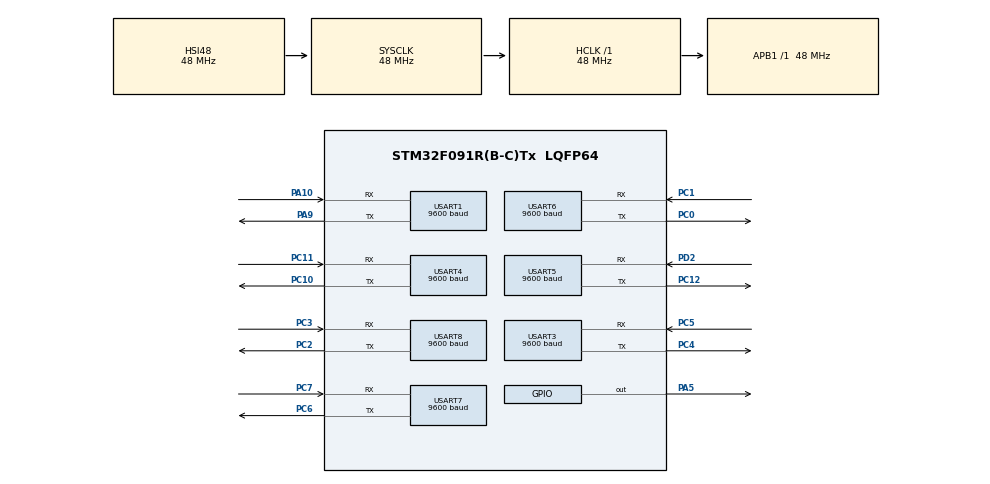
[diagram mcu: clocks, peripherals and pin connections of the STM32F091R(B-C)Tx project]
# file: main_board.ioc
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Mcu.Family=STM32F0
Mcu.Name=STM32F091R(B-C)Tx
Mcu.Package=LQFP64
NVIC.TIM3_IRQn=true\:0\:0\:false\:false\:true\:true
PA10.Mode=Asynchronous
PA10.Signal=USART1_RX
PA13.Mode=Serial_Wire
PA13.Signal=SYS_SWDIO
PA14.Mode=Serial_Wire
PA14.Signal=SYS_SWCLK
PA5.GPIO_Mode=GPIO_MODE_OUTPUT_PP
PA5.GPIO_ModeDefaultOutputPP=GPIO_MODE_OUTPUT_PP
PA5.GPIO_PuPd=GPIO_NOPULL
PA5.GPIO_Speed=GPIO_SPEED_FREQ_LOW
PA5.PinState=GPIO_PIN_RESET
PA5.Signal=GPIO_Output
PA9.Mode=Asynchronous
PA9.Signal=USART1_TX
PC0.Mode=Asynchronous
PC0.Signal=USART6_TX
PC1.Mode=Asynchronous
PC1.Signal=USART6_RX
PC10.Mode=Asynchronous
PC10.Signal=USART4_TX
PC11.Mode=Asynchronous
PC11.Signal=USART4_RX
PC12.Mode=Asynchronous
PC12.Signal=USART5_TX
PC14OSC32_IN.Signal=RCC_OSC32_IN
PC15OSC32_OUT.Signal=RCC_OSC32_OUT
PC2.Mode=Asynchronous
PC2.Signal=USART8_TX
PC3.Mode=Asynchronous
PC3.Signal=USART8_RX
PC4.Mode=Asynchronous
PC4.Signal=USART3_TX
PC5.Mode=Asynchronous
PC5.Signal=USART3_RX
PC6.Mode=Asynchronous
PC6.Signal=USART7_TX
PC7.Mode=Asynchronous
PC7.Signal=USART7_RX
PD2.Mode=Asynchronous
PD2.Signal=USART5_RX
PF0-OSC_IN.Signal=RCC_OSC_IN
PF1-OSC_OUT.Signal=RCC_OSC_OUT
ProjectManager.HeapSize=0x200
ProjectManager.StackSize=0x400
ProjectManager.TargetToolchain=TrueSTUDIO
RCC.AHBFreq_Value=48000000
RCC.APB1Freq_Value=48000000
RCC.APB1TimFreq_Value=48000000
RCC.FLatency-AdvancedSettings=FLASH_LATENCY_1
RCC.HCLKFreq_Value=48000000
RCC.PLLDivider=RCC_PREDIV_DIV2
RCC.PLLMUL=RCC_PLL_MUL12
RCC.PREFETCH_ENABLE-AdvancedSettings=1
RCC.SYSCLKFreq_VALUE=48000000
RCC.SYSCLKSource=RCC_SYSCLKSOURCE_HSI48
TIM3.Period=4799
TIM3.Prescaler=9
USART1.BaudRate=9600
USART1.VirtualMode-Asynchronous=VM_ASYNC
USART1.WordLength=WORDLENGTH_8B
USART3.BaudRate=9600
USART3.VirtualMode-Asynchronous=VM_ASYNC
USART3.WordLength=WORDLENGTH_8B
USART4.BaudRate=9600
USART4.VirtualMode-Asynchronous=VM_ASYNC
USART4.WordLength=WORDLENGTH_8B
USART5.BaudRate=9600
USART5.VirtualMode-Asynchronous=VM_ASYNC
USART5.WordLength=WORDLENGTH_8B
USART6.BaudRate=9600
USART6.VirtualMode=VM_ASYNC
USART6.WordLength=WORDLENGTH_8B
USART7.BaudRate=9600
USART7.VirtualMode=VM_ASYNC
USART7.WordLength=WORDLENGTH_8B
USART8.BaudRate=9600
USART8.VirtualMode=VM_ASYNC
USART8.WordLength=WORDLENGTH_8B
VP_TIM3_VS_ClockSourceINT.Mode=Internal
board=NUCLEO-F091RC

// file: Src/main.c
/**
  ******************************************************************************
  * File Name          : main.c
  * Description        : Main program body
  ******************************************************************************
  ** This notice applies to any and all portions of this file
  * that are not between comment pairs USER CODE BEGIN and
  * USER CODE END. Other portions of this file, whether
  * inserted by the user or by software development tools
  * are owned by their respective copyright owners.
  *
  * COPYRIGHT(c) 2018 STMicroelectronics
  *
  * Redistribution and use in source and binary forms, with or without modification,
  * are permitted provided that the following conditions are met:
  *   1. Redistributions of source code must retain the above copyright notice,
  *      this list of conditions and the following disclaimer.
  *   2. Redistributions in binary form must reproduce the above copyright notice,
  *      this list of conditions and the following disclaimer in the documentation
  *      and/or other materials provided with the distribution.
  *   3. Neither the name of STMicroelectronics nor the names of its contributors
  *      may be used to endorse or promote products derived from this software
  *      without specific prior written permission.
  *
  * THIS SOFTWARE IS PROVIDED BY THE COPYRIGHT HOLDERS AND CONTRIBUTORS "AS IS"
  * AND ANY EXPRESS OR IMPLIED WARRANTIES, INCLUDING, BUT NOT LIMITED TO, THE
  * IMPLIED WARRANTIES OF MERCHANTABILITY AND FITNESS FOR A PARTICULAR PURPOSE ARE
  * DISCLAIMED. IN NO EVENT SHALL THE COPYRIGHT HOLDER OR CONTRIBUTORS BE LIABLE
  * FOR ANY DIRECT, INDIRECT, INCIDENTAL, SPECIAL, EXEMPLARY, OR CONSEQUENTIAL
  * DAMAGES (INCLUDING, BUT NOT LIMITED TO, PROCUREMENT OF SUBSTITUTE GOODS OR
  * SERVICES; LOSS OF USE, DATA, OR PROFITS; OR BUSINESS INTERRUPTION) HOWEVER
  * CAUSED AND ON ANY THEORY OF LIABILITY, WHETHER IN CONTRACT, STRICT LIABILITY,
  * OR TORT (INCLUDING NEGLIGENCE OR OTHERWISE) ARISING IN ANY WAY OUT OF THE USE
  * OF THIS SOFTWARE, EVEN IF ADVISED OF THE POSSIBILITY OF SUCH DAMAGE.
  *
  ******************************************************************************
  */

#include "main.h"
#include "stm32f0xx_hal.h"

TIM_HandleTypeDef htim3;

UART_HandleTypeDef huart1;//UART2 NOT ACTIVATED
UART_HandleTypeDef huart3;
UART_HandleTypeDef huart4;
UART_HandleTypeDef huart5;
UART_HandleTypeDef huart6;
UART_HandleTypeDef huart7;
UART_HandleTypeDef huart8;

/* USER CODE BEGIN PV */
/* Private variables ---------------------------------------------------------*/
//char rx_indx1, uart2.rx_indx, uart3.rx_indx, uart4.rx_indx, rx_indx5, uart6.rx_indx, rx_indx7, rx_indx8;
// unsigned char uart1.rx_data[6], rx_buffer1[10], transfer_cplt1;   //UART1
// unsigned char uart2.rx_data[6], uart2.rx_buffer[10], transfer_cplt2;   //UART2
// unsigned char uart3.rx_data[6], uart3.rx_buffer[10], transfer_cplt3;   //UART3
// unsigned char uart4.rx_data[6], uart4.rx_buffer[10], transfer_cplt4;   //UART4
// unsigned char rx_data5[6], rx_buffer5[10], transfer_cplt5;   //UART5
// unsigned char uart6.rx_data[20], uart4.rx_buffer[50], transfer_cplt6;  //UART6
// unsigned char rx_data7[20], rx_buffer7[50], transfer_cplt7;  //UART7
// unsigned char rx_data8[20], rx_buffer8[100], transfer_cplt8; //UART8
// unsigned char print_buffer1[10], print_buffer2[10], print_buffer3[10], print_buffer4[10];
// unsigned char print_buffer5[10], print_buffer6[50], print_buffer7[50], print_buffer8[100];
// unsigned char rx_data[20][8];
// int print_size1,print_size2,print_size3,print_size4;
// int print_size5,print_size6,print_size7,print_size8;

struct uarts
{
  char rx_indx;
  unsigned char rx_data[20];
  unsigned char print_buffer[50];
  unsigned char rx_buffer[100];
  unsigned char transfer_cplt;
  int print_size;
};

struct motors
{
  int measured_direction;
  char measured_speed[3];
  int desired_direction;
  char desired_speed[3];
};

uint8_t string_size_mtr = 6 , string_size_tx2 = 18;

int counter = 0;

struct uarts uart1, uart2, uart3, uart4, uart5, uart6, uart7, uart8;
struct motors mtr_FrntRight, mtr_RearRight, mtr_FrntLeft, mtr_RearLeft;
/* USER CODE END PV */

void SystemClock_Config(void);
static void MX_GPIO_Init(void);
static void MX_TIM3_Init(void);
static void MX_USART1_UART_Init(void);
static void MX_USART3_UART_Init(void);
static void MX_USART4_UART_Init(void);
static void MX_USART5_UART_Init(void);
static void MX_USART6_UART_Init(void);
static void MX_USART7_UART_Init(void);
static void MX_USART8_UART_Init(void);

/* USER CODE BEGIN PFP */
/* Private function prototypes -----------------------------------------------*/
void HAL_UART_RxCpltCallBack(UART_HandleTypeDef *huart);
void sendData(void);
void transferComplete(void);

/* USER CODE END PFP */

int main(void)
{

  /* MCU Configuration----------------------------------------------------------*/

  /* Reset of all peripherals, Initializes the Flash interface and the Systick. */
  HAL_Init();

  /* USER CODE BEGIN Init */
  HAL_TIM_Base_Init(&htim3);

  /* USER CODE END Init */

  /* Configure the system clock */
  SystemClock_Config();

  /* USER CODE BEGIN SysInit */
	HAL_UART_Receive_IT(&huart1, uart1.rx_data, 1);
//	HAL_UART_Receive_IT(&huart2, uart2.rx_data, 1);
	HAL_UART_Receive_IT(&huart3, uart3.rx_data, 1);
	HAL_UART_Receive_IT(&huart4, uart4.rx_data, 1);
	HAL_UART_Receive_IT(&huart5, uart5.rx_data, 1);
	HAL_UART_Receive_IT(&huart6, uart6.rx_data, 1);
	HAL_UART_Receive_IT(&huart7, uart7.rx_data, 1);
	HAL_UART_Receive_IT(&huart8, uart8.rx_data, 1);
  /* USER CODE END SysInit */

  /* Initialize all configured peripherals */
  MX_GPIO_Init();
  MX_TIM3_Init();
  MX_USART1_UART_Init();
  MX_USART3_UART_Init();
  MX_USART4_UART_Init();
  MX_USART5_UART_Init();
  MX_USART6_UART_Init();
  MX_USART7_UART_Init();
  MX_USART8_UART_Init();

  /* Infinite loop */
  while (1)
  {
		transferComplete();
		sendData();

  }

}

/** System Clock Configuration
*/
void SystemClock_Config(void)
{

  RCC_OscInitTypeDef RCC_OscInitStruct;
  RCC_ClkInitTypeDef RCC_ClkInitStruct;
  RCC_PeriphCLKInitTypeDef PeriphClkInit;

    /**Initializes the CPU, AHB and APB busses clocks
    */
  RCC_OscInitStruct.OscillatorType = RCC_OSCILLATORTYPE_HSI48;
  RCC_OscInitStruct.HSI48State = RCC_HSI48_ON;
  RCC_OscInitStruct.PLL.PLLState = RCC_PLL_NONE;
  if (HAL_RCC_OscConfig(&RCC_OscInitStruct) != HAL_OK)
  {
    _Error_Handler(__FILE__, __LINE__);
  }

    /**Initializes the CPU, AHB and APB busses clocks
    */
  RCC_ClkInitStruct.ClockType = RCC_CLOCKTYPE_HCLK|RCC_CLOCKTYPE_SYSCLK
                              |RCC_CLOCKTYPE_PCLK1;
  RCC_ClkInitStruct.SYSCLKSource = RCC_SYSCLKSOURCE_HSI48;
  RCC_ClkInitStruct.AHBCLKDivider = RCC_SYSCLK_DIV1;
  RCC_ClkInitStruct.APB1CLKDivider = RCC_HCLK_DIV1;

  if (HAL_RCC_ClockConfig(&RCC_ClkInitStruct, FLASH_LATENCY_1) != HAL_OK)
  {
    _Error_Handler(__FILE__, __LINE__);
  }

  PeriphClkInit.PeriphClockSelection = RCC_PERIPHCLK_USART3|RCC_PERIPHCLK_USART1;
  PeriphClkInit.Usart1ClockSelection = RCC_USART1CLKSOURCE_PCLK1;
  PeriphClkInit.Usart3ClockSelection = RCC_USART3CLKSOURCE_PCLK1;
  if (HAL_RCCEx_PeriphCLKConfig(&PeriphClkInit) != HAL_OK)
  {
    _Error_Handler(__FILE__, __LINE__);
  }

    /**Configure the Systick interrupt time
    */
  HAL_SYSTICK_Config(HAL_RCC_GetHCLKFreq()/1000);

    /**Configure the Systick
    */
  HAL_SYSTICK_CLKSourceConfig(SYSTICK_CLKSOURCE_HCLK);

  /* SysTick_IRQn interrupt configuration */
  HAL_NVIC_SetPriority(SysTick_IRQn, 0, 0);
}

/* TIM3 init function */
static void MX_TIM3_Init(void)
{

  TIM_ClockConfigTypeDef sClockSourceConfig;
  TIM_MasterConfigTypeDef sMasterConfig;

  htim3.Instance = TIM3;
  htim3.Init.Prescaler = 9;
  htim3.Init.CounterMode = TIM_COUNTERMODE_UP;
  htim3.Init.Period = 4799;
  htim3.Init.ClockDivision = TIM_CLOCKDIVISION_DIV1;
  htim3.Init.AutoReloadPreload = TIM_AUTORELOAD_PRELOAD_DISABLE;
  if (HAL_TIM_Base_Init(&htim3) != HAL_OK)
  {
    _Error_Handler(__FILE__, __LINE__);
  }

  sClockSourceConfig.ClockSource = TIM_CLOCKSOURCE_INTERNAL;
  if (HAL_TIM_ConfigClockSource(&htim3, &sClockSourceConfig) != HAL_OK)
  {
    _Error_Handler(__FILE__, __LINE__);
  }

  sMasterConfig.MasterOutputTrigger = TIM_TRGO_RESET;
  sMasterConfig.MasterSlaveMode = TIM_MASTERSLAVEMODE_DISABLE;
  if (HAL_TIMEx_MasterConfigSynchronization(&htim3, &sMasterConfig) != HAL_OK)
  {
    _Error_Handler(__FILE__, __LINE__);
  }

}

/* USART1 init function */
static void MX_USART1_UART_Init(void)
{

  huart1.Instance = USART1;
  huart1.Init.BaudRate = 9600;
  huart1.Init.WordLength = UART_WORDLENGTH_8B;
  huart1.Init.StopBits = UART_STOPBITS_1;
  huart1.Init.Parity = UART_PARITY_NONE;
  huart1.Init.Mode = UART_MODE_TX_RX;
  huart1.Init.HwFlowCtl = UART_HWCONTROL_NONE;
  huart1.Init.OverSampling = UART_OVERSAMPLING_16;
  huart1.Init.OneBitSampling = UART_ONE_BIT_SAMPLE_DISABLE;
  huart1.AdvancedInit.AdvFeatureInit = UART_ADVFEATURE_NO_INIT;
  if (HAL_UART_Init(&huart1) != HAL_OK)
  {
    _Error_Handler(__FILE__, __LINE__);
  }

}

/* USART3 init function */
static void MX_USART3_UART_Init(void)
{

  huart3.Instance = USART3;
  huart3.Init.BaudRate = 9600;
  huart3.Init.WordLength = UART_WORDLENGTH_8B;
  huart3.Init.StopBits = UART_STOPBITS_1;
  huart3.Init.Parity = UART_PARITY_NONE;
  huart3.Init.Mode = UART_MODE_TX_RX;
  huart3.Init.HwFlowCtl = UART_HWCONTROL_NONE;
  huart3.Init.OverSampling = UART_OVERSAMPLING_16;
  huart3.Init.OneBitSampling = UART_ONE_BIT_SAMPLE_DISABLE;
  huart3.AdvancedInit.AdvFeatureInit = UART_ADVFEATURE_NO_INIT;
  if (HAL_UART_Init(&huart3) != HAL_OK)
  {
    _Error_Handler(__FILE__, __LINE__);
  }

}

/* USART4 init function */
static void MX_USART4_UART_Init(void)
{

  huart4.Instance = USART4;
  huart4.Init.BaudRate = 9600;
  huart4.Init.WordLength = UART_WORDLENGTH_8B;
  huart4.Init.StopBits = UART_STOPBITS_1;
  huart4.Init.Parity = UART_PARITY_NONE;
  huart4.Init.Mode = UART_MODE_TX_RX;
  huart4.Init.HwFlowCtl = UART_HWCONTROL_NONE;
  huart4.Init.OverSampling = UART_OVERSAMPLING_16;
  huart4.Init.OneBitSampling = UART_ONE_BIT_SAMPLE_DISABLE;
  huart4.AdvancedInit.AdvFeatureInit = UART_ADVFEATURE_NO_INIT;
  if (HAL_UART_Init(&huart4) != HAL_OK)
  {
    _Error_Handler(__FILE__, __LINE__);
  }

}

/* USART5 init function */
static void MX_USART5_UART_Init(void)
{

  huart5.Instance = USART5;
  huart5.Init.BaudRate = 9600;
  huart5.Init.WordLength = UART_WORDLENGTH_8B;
  huart5.Init.StopBits = UART_STOPBITS_1;
  huart5.Init.Parity = UART_PARITY_NONE;
  huart5.Init.Mode = UART_MODE_TX_RX;
  huart5.Init.HwFlowCtl = UART_HWCONTROL_NONE;
  huart5.Init.OverSampling = UART_OVERSAMPLING_16;
  huart5.Init.OneBitSampling = UART_ONE_BIT_SAMPLE_DISABLE;
  huart5.AdvancedInit.AdvFeatureInit = UART_ADVFEATURE_NO_INIT;
  if (HAL_UART_Init(&huart5) != HAL_OK)
  {
    _Error_Handler(__FILE__, __LINE__);
  }

}

/* USART6 init function */
static void MX_USART6_UART_Init(void)
{

  huart6.Instance = USART6;
  huart6.Init.BaudRate = 9600;
  huart6.Init.WordLength = UART_WORDLENGTH_8B;
  huart6.Init.StopBits = UART_STOPBITS_1;
  huart6.Init.Parity = UART_PARITY_NONE;
  huart6.Init.Mode = UART_MODE_TX_RX;
  huart6.Init.HwFlowCtl = UART_HWCONTROL_NONE;
  huart6.Init.OverSampling = UART_OVERSAMPLING_16;
  huart6.Init.OneBitSampling = UART_ONE_BIT_SAMPLE_DISABLE;
  huart6.AdvancedInit.AdvFeatureInit = UART_ADVFEATURE_NO_INIT;
  if (HAL_UART_Init(&huart6) != HAL_OK)
  {
    _Error_Handler(__FILE__, __LINE__);
  }

}

/* USART7 init function */
static void MX_USART7_UART_Init(void)
{

  huart7.Instance = USART7;
  huart7.Init.BaudRate = 9600;
  huart7.Init.WordLength = UART_WORDLENGTH_8B;
  huart7.Init.StopBits = UART_STOPBITS_1;
  huart7.Init.Parity = UART_PARITY_NONE;
  huart7.Init.Mode = UART_MODE_TX_RX;
  huart7.Init.HwFlowCtl = UART_HWCONTROL_NONE;
  huart7.Init.OverSampling = UART_OVERSAMPLING_16;
  huart7.Init.OneBitSampling = UART_ONE_BIT_SAMPLE_DISABLE;
  huart7.AdvancedInit.AdvFeatureInit = UART_ADVFEATURE_NO_INIT;
  if (HAL_UART_Init(&huart7) != HAL_OK)
  {
    _Error_Handler(__FILE__, __LINE__);
  }

}

/* USART8 init function */
static void MX_USART8_UART_Init(void)
{

  huart8.Instance = USART8;
  huart8.Init.BaudRate = 9600;
  huart8.Init.WordLength = UART_WORDLENGTH_8B;
  huart8.Init.StopBits = UART_STOPBITS_1;
  huart8.Init.Parity = UART_PARITY_NONE;
  huart8.Init.Mode = UART_MODE_TX_RX;
  huart8.Init.HwFlowCtl = UART_HWCONTROL_NONE;
  huart8.Init.OverSampling = UART_OVERSAMPLING_16;
  huart8.Init.OneBitSampling = UART_ONE_BIT_SAMPLE_DISABLE;
  huart8.AdvancedInit.AdvFeatureInit = UART_ADVFEATURE_NO_INIT;
  if (HAL_UART_Init(&huart8) != HAL_OK)
  {
    _Error_Handler(__FILE__, __LINE__);
  }

}

/** Configure pins as
        * Analog
        * Input
        * Output
        * EVENT_OUT
        * EXTI
*/
static void MX_GPIO_Init(void)
{

  GPIO_InitTypeDef GPIO_InitStruct;

  /* GPIO Ports Clock Enable */
  __HAL_RCC_GPIOC_CLK_ENABLE();
  __HAL_RCC_GPIOF_CLK_ENABLE();
  __HAL_RCC_GPIOA_CLK_ENABLE();
  __HAL_RCC_GPIOD_CLK_ENABLE();

  /*Configure GPIO pin Output Level */
  HAL_GPIO_WritePin(GPIOA, GPIO_PIN_5, GPIO_PIN_RESET);

  /*Configure GPIO pin : PA5 */
  GPIO_InitStruct.Pin = GPIO_PIN_5;
  GPIO_InitStruct.Mode = GPIO_MODE_OUTPUT_PP;
  GPIO_InitStruct.Pull = GPIO_NOPULL;
  GPIO_InitStruct.Speed = GPIO_SPEED_FREQ_LOW;
  HAL_GPIO_Init(GPIOA, &GPIO_InitStruct);

}

/* USER CODE BEGIN 4 */
void HAL_UART_RxCpltCallBack(UART_HandleTypeDef *huart)
{
  /*Receive Interrupt
    UART1 Front-right
    UART2 Rear-right // until to revision of main board it is UART5
    UART3 Front-left
    UART4 Rear-left
    UART5
    UART6 NVIDIA TX2
    UART7
    UART8 GNSS
  */

  if (huart->Instance == USART1)
  {
    if (uart1.rx_indx == 0)
    {
      for (int i = 0; i < 6; i++)
        uart1.rx_data[i] = 0;
    }
    if (uart1.rx_data[0] == 'S') //If data that comes equal to 'S', that means index equals to 0
    {
      uart1.rx_indx = 0;
    }
    if (uart1.rx_data[0] > 0x80)
    {
      uart1.rx_data[0] = uart1.rx_data[0] - 0x80;
    }
    if (uart1.rx_data[0] != 0x0A) //Receive data that comes until it is equal to "/r"
    {
      uart1.rx_buffer[uart1.rx_indx++] = uart1.rx_data[0];
    }
    else
    {
      uart1.rx_indx = 0;
      uart1.transfer_cplt = 1; //Receive completed
    }
		HAL_UART_Receive_IT(&huart1, uart1.rx_data, 1);
  }
  if (huart->Instance == USART2)
  {
    // if (uart2.rx_indx == 0)
    // {
    //   for (int i = 0; i < 6; i++)
    //     uart2.rx_buffer[i] = 0;
    // }
    // if (uart2.rx_data[0] == 'S') //If data that comes equal to 'S', that means index equals to 0
    // {
    //   uart2.rx_indx = 0
    // }
    // if (uart2.rx_data[0] > 0x80)
    // {
    //   uart2.rx_data[0] = uart2.rx_data[0] - 0x80;
    // }
    // if (uart2.rx_data[0] != 0x0A) //Receive data that comes until it is equal to "/r"
    // {
    //   uart2.rx_buffer[uart2.rx_indx++] = uart2.rx_data[0];
    // }
    // else
    // {
    //   uart2.rx_indx = 0;
    //   uart2.transfer_cplt = 1; //Receive completed
    // }
//		HAL_UART_Receive_IT(&huart2, uart2.rx_data, 1);
  }
  if (huart->Instance == USART3)
  {
    if (uart3.rx_indx == 0)
    {
      for (int i = 0; i < 6; i++)
        uart3.rx_buffer[i] = 0;
    }
    if (uart3.rx_data[0] == 'S') //If data that comes equal to 'S', that means index equals to 0
    {
      uart3.rx_indx = 0;
    }
    if (uart3.rx_data[0] > 0x80)
    {
      uart3.rx_data[0] = uart3.rx_data[0] - 0x80;
    }
    if (uart3.rx_data[0] != 0x0A) //Receive data that comes until it is equal to "/r"
    {
      uart3.rx_buffer[uart3.rx_indx++] = uart3.rx_data[0];
    }
    else
    {
      uart3.rx_indx = 0;
      uart3.transfer_cplt = 1; //Receive completed
    }
		HAL_UART_Receive_IT(&huart3, uart3.rx_data, 1);
  }
  if (huart->Instance == USART4)
  {
    if (uart4.rx_indx == 0)
    {
      for (int i = 0; i < 6; i++)
        uart4.rx_buffer[i] = 0;
    }
    if (uart4.rx_data[0] == 'S') //If data that comes equal to 'S', that means index equals to 0
    {
      uart4.rx_indx = 0;
    }
    if (uart4.rx_data[0] > 0x80)
    {
      uart4.rx_data[0] = uart4.rx_data[0] - 0x80;
    }
    if (uart4.rx_data[0] != 0x0A) //Recieve datas that comes until it is equal to "/r"
    {
      uart4.rx_buffer[uart4.rx_indx++] = uart4.rx_data[0];
    }
    else
    {
      uart4.rx_indx = 0;
      uart4.transfer_cplt = 1; //Receive completed
    }
		HAL_UART_Receive_IT(&huart4, uart4.rx_data, 1);
  }
  if (huart->Instance == USART5)
  { // Temporarily transfered to uart2
        if (uart5.rx_indx == 0)
    {
      for (int i = 0; i < 6; i++)
        uart5.rx_buffer[i] = 0;
    }
    if (uart5.rx_data[0] == 'S') //If data that comes equal to 'S', that means index equals to 0
    {
      uart5.rx_indx = 0;
    }
    if (uart5.rx_data[0] > 0x80)
    {
      uart5.rx_data[0] = uart5.rx_data[0] - 0x80;
    }
    if (uart5.rx_data[0] != 0x0A) //Receive data that comes until it is equal to "/r"
    {
      uart5.rx_buffer[uart5.rx_indx++] = uart5.rx_data[0];
    }
    else
    {
      uart5.rx_indx = 0;
      uart5.transfer_cplt = 1; //Receive completed
    }
		HAL_UART_Receive_IT(&huart5, uart1.rx_data, 1);
  }
  if (huart->Instance == USART6)
  {
    if (uart6.rx_indx == 0)
    {
      for (int i = 0; i < 20; i++)
        uart6.rx_buffer[i] = 0;
    }
    if (uart6.rx_data[0] == 'S')
    {
      uart6.rx_indx = 0;
    }
    if (uart6.rx_data[0] > 0x80)
    {
      uart6.rx_data[0] = uart6.rx_data[0] - 0x80;
    }
    if (uart6.rx_data[0] != 0x0A)
    {
      uart6.rx_buffer[uart6.rx_indx++] = uart6.rx_data[0];
    }
    else
    {
      uart6.rx_indx = 0;
      uart6.transfer_cplt = 1;
    }
		HAL_UART_Receive_IT(&huart6, uart6.rx_data, 1);
  }
  if (huart->Instance == USART7)
  {
  }
  if (huart->Instance == USART8)
  {
       if (uart8.rx_indx == 0)
    {
      for (int i = 0; i < 20; i++)
        uart8.rx_buffer[i] = 0;
    }
    if (uart8.rx_data[0] == 'S')
    {
      uart8.rx_indx = 0;
    }
    if (uart8.rx_data[0] > 0x80)
    {
      uart8.rx_data[0] = uart8.rx_data[0] - 0x80;
    }
    if (uart8.rx_data[0] != 0x0A)
    {
      uart8.rx_buffer[uart8.rx_indx++] = uart8.rx_data[0];
    }
    else
    {
      uart8.rx_indx = 0;
      uart8.transfer_cplt = 1;
    }
		HAL_UART_Receive_IT(&huart8, uart8.rx_data, 1);
  }
}
void TIM3_IRQHandler(void)
{	//Timer Counter 1ms
  /* USER CODE BEGIN TIM3_IRQn 0 */
  counter++;
  /* USER CODE END TIM3_IRQn 0 */
  HAL_TIM_IRQHandler(&htim3);
  /* USER CODE BEGIN TIM3_IRQn 1 */

  /* USER CODE END TIM3_IRQn 1 */
}

void sendData()
{
  if (counter >= 15)
  {
    uart1.print_size = sprintf((char*)uart1.print_buffer, "S%d%sF", mtr_FrntRight.desired_direction, mtr_FrntRight.desired_speed);
		HAL_UART_Transmit_IT(&huart1,uart1.print_buffer,uart1.print_size);

//		uart2.print_size = sprintf(uart2.print_buffer, "S%d%dF", mtr_RearRight.desired_direction, mtr_RearRight.desired_speed);
//		HAL_UART_Transmit_IT(&huart2,uart2.print_buffer,uart2.print_size);

		uart3.print_size = sprintf((char*)uart3.print_buffer, "S%d%sF", mtr_FrntLeft.desired_direction, mtr_FrntLeft.desired_speed);
		HAL_UART_Transmit_IT(&huart3,uart3.print_buffer,uart3.print_size);

		uart4.print_size = sprintf((char*)uart4.print_buffer, "S%d%sF", mtr_RearLeft.desired_direction, mtr_RearLeft.desired_speed);
		HAL_UART_Transmit_IT(&huart4,uart4.print_buffer,uart4.print_size);

		uart5.print_size = sprintf((char*)uart5.print_buffer, "S%d%sF", mtr_RearRight.desired_direction, mtr_RearRight.desired_speed);
		HAL_UART_Transmit_IT(&huart5,uart5.print_buffer,uart5.print_size);

		uart6.print_size = sprintf((char*)uart6.print_buffer,"S%d%s%d%s%d%s%d%sF",mtr_FrntLeft.measured_direction,mtr_FrntLeft.measured_speed,mtr_RearLeft.measured_direction,mtr_RearLeft.measured_speed,mtr_FrntRight.measured_direction,mtr_FrntRight.measured_speed,mtr_RearRight.measured_direction,mtr_RearRight.measured_speed);

		if(uart6.print_size == 18)
		{
				HAL_UART_Transmit_IT(&huart6,uart6.print_buffer,uart6.print_size);
		}

  }
}

void transferComplete()
{
  /*
    UART1 Front-right
    UART2 Rear-right // until to revision of main board it is UART5
    UART3 Front-left
    UART4 Rear-left
  */
  if (uart1.transfer_cplt) //UART1 FRONT-RIGHT
  {
    /*"SdrpmF" six character message that come from motor controller
    check that if ends with "F" which is equal to hex 0x46 */
    if (uart1.rx_buffer[5] == 0x46) //0x46 = 'F' (F correspond to finish)
    {
      //Message that motor controller 1 (front-right) sends include measured direction and speed in rpm
      mtr_FrntRight.measured_direction = uart1.rx_buffer[1] - '0';
			sprintf(mtr_FrntRight.measured_speed,"%c%c%c",uart1.rx_buffer[2],uart1.rx_buffer[3],uart1.rx_buffer[4]);
    }
  }
  if (uart2.transfer_cplt) //UART2 REAR RIGHT
  {
    if (uart2.rx_buffer[5] == 0x46) //0x46 = 'F' (F corresponds to finish)
    {
      //Message that motor controller 2 (rear-right) sends include measured direction and speed in rpm
      //mtr_RearRight.measured_direction= uart2.rx_buffer[1] - '0
      //sprintf(mtr_RearRight.measured_speed,"%c%c%c",uart2.rx_buffer[2],uart2.rx_buffer[3],uart2.rx_buffer[4]);

      //it is temporarily transfered to UART5
    }
  }
  if (uart3.transfer_cplt) // UART3 FRONT LEFT
  {
    if (uart3.rx_buffer[5] == 0x46) //0x46 = 'F' (F corresponds to finish)
    {
      //Message that motor controller 3 (front-left) sends include measured direction and speed in rpm
      mtr_FrntLeft.measured_direction = uart3.rx_buffer[1] - '0';
			sprintf(mtr_FrntLeft.measured_speed,"%c%c%c",uart3.rx_buffer[2],uart3.rx_buffer[3],uart3.rx_buffer[4]);

    }
  }
  if (uart4.transfer_cplt) // UART4 REAR LEFT
  {
    if (uart4.rx_buffer[5] == 0x46) //0x46 = 'F' (F corresponds to finish)
    {
      //Message that motor controller 4 (rear-left) sends include measured direction and speed in rpm
      mtr_RearRight.measured_direction = uart4.rx_buffer[1] - '0';
			sprintf(mtr_RearLeft.measured_speed,"%c%c%c",uart4.rx_buffer[2],uart4.rx_buffer[3],uart4.rx_buffer[4]);

    }
  }
  if (uart5.transfer_cplt) //UART2 REAR RIGHT (TEMPORARY)
  {
    if (uart5.rx_buffer[5] == 0x46) //0x46 = 'F' (F corresponds to finish)
    {
      //Message that motor controller 2 (rear-right) sends include measured direction and speed in rpm
			mtr_RearRight.measured_direction= uart5.rx_buffer[1] - '0';
			sprintf(mtr_RearRight.measured_speed,"%c%c%c",uart5.rx_buffer[2],uart5.rx_buffer[3],uart5.rx_buffer[4]);

    }
  }
  if (uart6.transfer_cplt) // SERIAL COMM WITH TX2
  {
    if (uart6.rx_buffer[17] == 0x46) //0x46 = 'F' (F corresponds to finish)
    {                               /* message come from tx2 S1999199919991999F
      the message for motors encoded to four decimal in a block (ex.'1999')
      block's first decimal is direction (ex."'1'999"),
      other decimals define the motor's rpms (ex."1'999'"), rpms are up to 450 rpm
      First block defines front-left
      Second block defines rear-left
      Third block defines front-right
      Fourth block defines rear-right
      Because of shifting sides, implementation that runs in below is needed.
      */
			mtr_FrntLeft.desired_direction = uart6.rx_buffer[1]-'0';
//			mtr_FrntLeft.desired_speed = ((uart6.rx_buffer[2] - '0') * 100) + ((uart6.rx_buffer[3] - '0') * 10) + (uart6.rx_buffer[4] - '0');
			sprintf(mtr_FrntLeft.desired_speed,"%c%c%c",uart6.rx_buffer[2],uart6.rx_buffer[3],uart6.rx_buffer[4]);

			mtr_RearLeft.desired_direction = uart6.rx_buffer[5]-'0';
//			mtr_RearLeft.desired_speed = ((uart6.rx_buffer[6] - '0') * 100) + ((uart6.rx_buffer[7] - '0') * 10) + (uart6.rx_buffer[8] - '0');
			sprintf(mtr_RearLeft.desired_speed,"%c%c%c",uart6.rx_buffer[6],uart6.rx_buffer[7],uart6.rx_buffer[8]);

			mtr_FrntRight.desired_direction = uart6.rx_buffer[9]-'0';
//			mtr_FrntRight.desired_speed = ((uart6.rx_buffer[10] - '0') * 100) + ((uart6.rx_buffer[11] - '0') * 10) + (uart6.rx_buffer[12] - '0');
			sprintf(mtr_FrntRight.desired_speed,"%c%c%c",uart6.rx_buffer[10],uart6.rx_buffer[11],uart6.rx_buffer[12]);

			mtr_RearRight.desired_direction = uart6.rx_buffer[13]-'0';
//			mtr_RearRight.desired_speed = ((uart6.rx_buffer[14] - '0') * 100) + ((uart6.rx_buffer[15] - '0') * 10) + (uart6.rx_buffer[16] - '0');
			sprintf(mtr_RearRight.desired_speed,"%c%c%c",uart6.rx_buffer[14],uart6.rx_buffer[15],uart6.rx_buffer[16]);

    }
  }
  if (uart7.transfer_cplt)
  {
    //Empty
  }
  if (uart8.transfer_cplt)
  {
    //GNSS UART
  }
}

/* USER CODE END 4 */

void _Error_Handler(char * file, int line)
{
  while (1)
  {
  }
}

/************************ (C) COPYRIGHT STMicroelectronics *****END OF FILE****/
